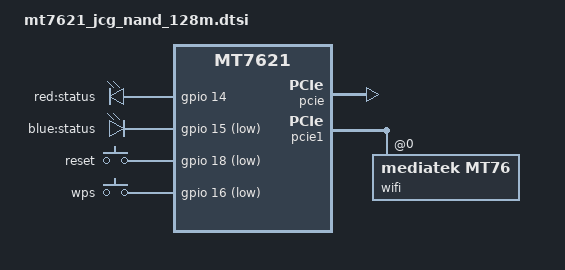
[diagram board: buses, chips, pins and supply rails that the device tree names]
// SPDX-License-Identifier: GPL-2.0-or-later OR MIT

#include "mt7621.dtsi"

#include <dt-bindings/gpio/gpio.h>
#include <dt-bindings/input/input.h>

/ {
	chosen {
		bootargs = "console=ttyS0,115200";
	};

	leds {
		compatible = "gpio-leds";

		led_status_red: status_red {
			label = "red:status";
			gpios = <&gpio 14 GPIO_ACTIVE_HIGH>;
		};

		led_status_blue: status_blue {
			label = "blue:status";
			gpios = <&gpio 15 GPIO_ACTIVE_LOW>;
		};
	};

	keys {
		compatible = "gpio-keys";

		reset {
			label = "reset";
			gpios = <&gpio 18 GPIO_ACTIVE_LOW>;
			linux,code = <KEY_RESTART>;
		};

		wps {
			label = "wps";
			gpios = <&gpio 16 GPIO_ACTIVE_LOW>;
			linux,code = <KEY_WPS_BUTTON>;
		};
	};
};

&pcie {
	status = "okay";
};

&pcie1 {
	wifi@0,0 {
		compatible = "mediatek,mt76";
		reg = <0x0000 0 0 0 0>;
		mediatek,mtd-eeprom = <&factory 0x0>;
	};
};

&state_default {
	gpio {
		groups = "jtag", "wdt";
		function = "gpio";
	};
};
